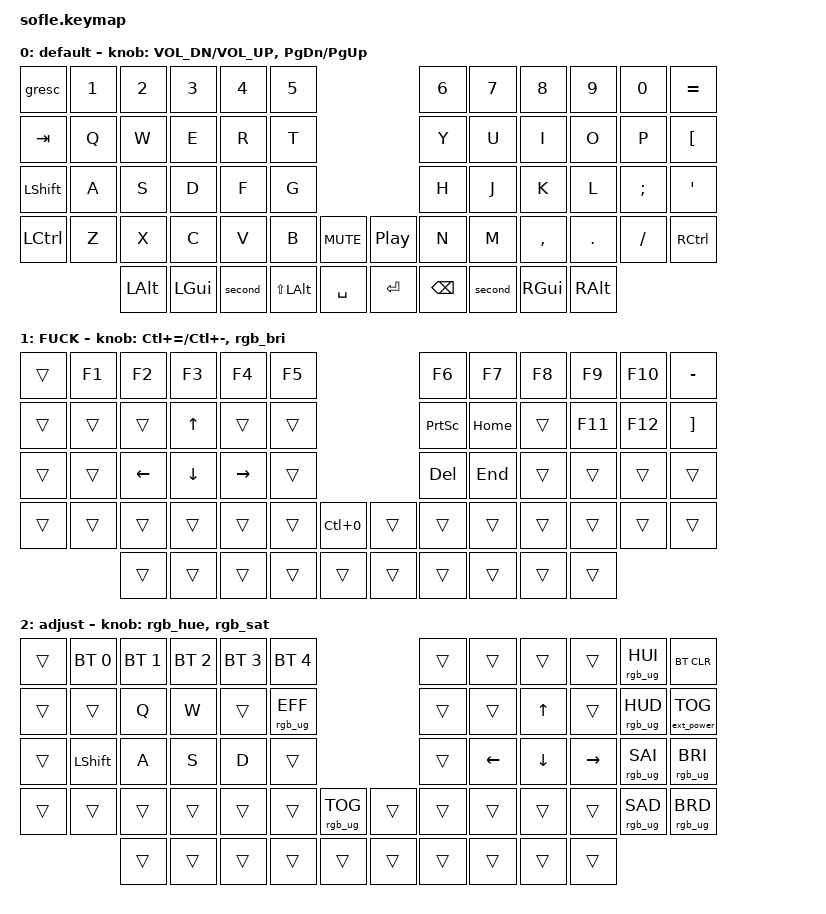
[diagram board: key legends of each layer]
#include <behaviors.dtsi>
#include <dt-bindings/zmk/bt.h>
#include <dt-bindings/zmk/ext_power.h>
#include <dt-bindings/zmk/keys.h>
#include <dt-bindings/zmk/rgb.h>

#define BASE 0
#define LOWER 1
#define RAISE 2
#define ADJUST 3

/ {
    // Activate ADJUST layer by pressing raise and lower

    conditional_layers {
        compatible = "zmk,conditional-layers";

        adjust_layer {
            if-layers = <2 2>;
            then-layer = <2>;
        };
    };

    behaviors {
        rgb_hue: rgb_hue {
            compatible = "zmk,behavior-sensor-rotate";
            label = "RGB_HUE";
            #sensor-binding-cells = <0>;
            bindings = <&rgb_ug RGB_HUI>, <&rgb_ug RGB_HUD>;
        };

        second: second {
            compatible = "zmk,behavior-mod-morph";
            label = "SECOND";
            bindings = <&mo 1>, <&tog 2>;

            #binding-cells = <0>;
            mods = <(MOD_LGUI)>;
        };

        rgb_sat: rgb_sat {
            compatible = "zmk,behavior-sensor-rotate";
            label = "RGB_SAT";
            #sensor-binding-cells = <0>;
            bindings = <&rgb_ug RGB_SAI>, <&rgb_ug RGB_SAD>;
        };

        rgb_bri: rgb_bri {
            compatible = "zmk,behavior-sensor-rotate";
            label = "RGB_BRI";
            #sensor-binding-cells = <0>;
            bindings = <&rgb_ug RGB_BRI>, <&rgb_ug RGB_BRD>;
        };
    };

    keymap {
        compatible = "zmk,keymap";

        BAZA {
            display-name = "default";

            bindings = <
&gresc     &kp N1  &kp N2    &kp N3    &kp N4   &kp N5                                     &kp N6         &kp N7   &kp N8     &kp N9    &kp N0    &kp EQUAL
&kp TAB    &kp Q   &kp W     &kp E     &kp R    &kp T                                      &kp Y          &kp U    &kp I      &kp O     &kp P     &kp LBKT
&kp LSHFT  &kp A   &kp S     &kp D     &kp F    &kp G                                      &kp H          &kp J    &kp K      &kp L     &kp SEMI  &kp SQT
&kp LCTRL  &kp Z   &kp X     &kp C     &kp V    &kp B             &kp C_MUTE    &kp C_PP   &kp N          &kp M    &kp COMMA  &kp DOT   &kp FSLH  &kp RCTRL
                   &kp LALT  &kp LGUI  &second  &kp LS(LEFT_ALT)  &kp SPACE     &kp ENTER  &kp BACKSPACE  &second  &kp RGUI   &kp RALT
            >;

            sensor-bindings = <&inc_dec_kp C_VOL_DN C_VOL_UP &inc_dec_kp PG_DN PG_UP>;
        };

        FUCK {
            bindings = <
&trans  &kp F1  &kp F2    &kp F3    &kp F4     &kp F5                        &kp F6     &kp F7    &kp F8  &kp F9   &kp F10  &kp MINUS
&trans  &trans  &trans    &kp UP    &trans     &trans                        &kp PSCRN  &kp HOME  &trans  &kp F11  &kp F12  &kp RBKT
&trans  &trans  &kp LEFT  &kp DOWN  &kp RIGHT  &trans                        &kp DEL    &kp END   &trans  &trans   &trans   &trans
&trans  &trans  &trans    &trans    &trans     &trans  &kp LC(N0)    &trans  &trans     &trans    &trans  &trans   &trans   &trans
                &trans    &trans    &trans     &trans  &trans        &trans  &trans     &trans    &trans  &trans
            >;

            sensor-bindings = <&inc_dec_kp LC(EQUAL) LC(MINUS)>, <&rgb_bri>;
        };

        ISAAC {

            display-name = "adjust";
            bindings = <
&trans  &bt BT_SEL 0    &bt BT_SEL 1  &bt BT_SEL 2  &bt BT_SEL 3  &bt BT_SEL 4                                &trans  &trans    &trans    &trans     &rgb_ug RGB_HUI  &bt BT_CLR
&trans  &trans          &kp Q         &kp W         &trans        &rgb_ug RGB_EFF                             &trans  &trans    &kp UP    &trans     &rgb_ug RGB_HUD  &ext_power EP_TOG
&trans  &kp LEFT_SHIFT  &kp A         &kp S         &kp D         &trans                                      &trans  &kp LEFT  &kp DOWN  &kp RIGHT  &rgb_ug RGB_SAI  &rgb_ug RGB_BRI
&trans  &trans          &trans        &trans        &trans        &trans           &rgb_ug RGB_TOG    &trans  &trans  &trans    &trans    &trans     &rgb_ug RGB_SAD  &rgb_ug RGB_BRD
                        &trans        &trans        &trans        &trans           &trans             &trans  &trans  &trans    &trans    &trans
            >;

            sensor-bindings = <&rgb_hue>, <&rgb_sat>;
        };
    };
};
